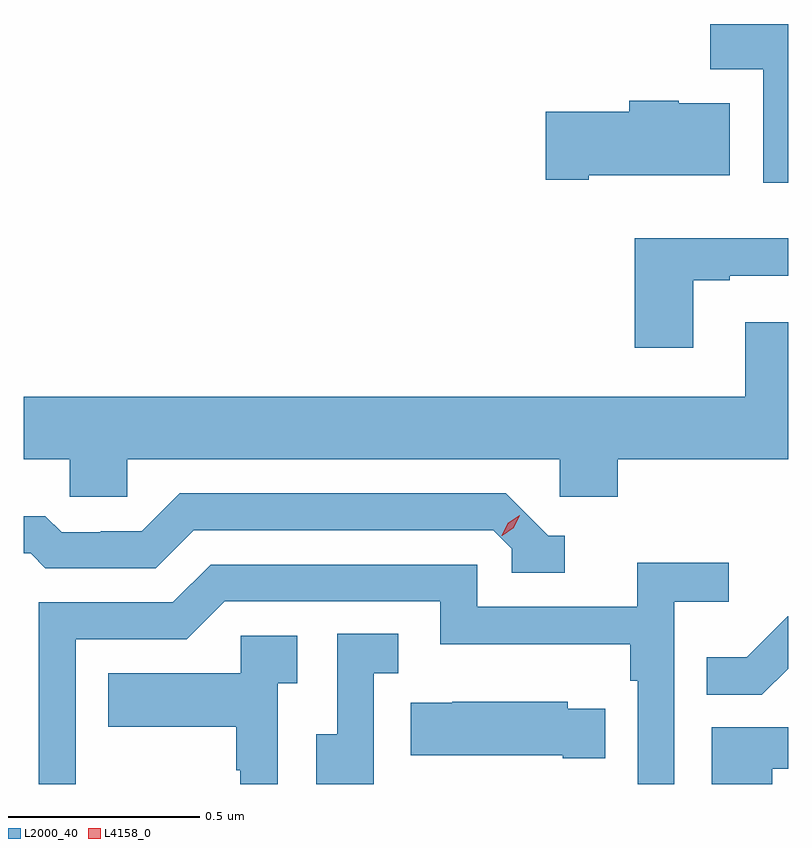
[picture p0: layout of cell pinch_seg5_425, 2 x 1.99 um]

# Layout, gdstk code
import gdstk
lib = gdstk.Library(unit=1e-6, precision=1e-09)
def P(c, l, *ps):  # polygons
    for p in ps: c.add(gdstk.Polygon(p, *l))
L2000_40 = (2000, 40)
L4158_0 = (4158, 0)

pinch_seg5_425 = lib.new_cell('pinch_seg5_425')
P(pinch_seg5_425, L2000_40, [(973.846,861.895),(973.642,861.895),(973.642,861.776),(973.781,861.776),(973.781,861.48),(973.846,861.48)],
  [(973.324,861.5),(973.693,861.5),(973.693,861.688),(973.56,861.688),(973.56,861.694),(973.43,861.694),(973.43,861.666),(973.212,861.666),(973.212,861.488),(973.324,861.488)],
  [(973.597,861.225),(973.693,861.225),(973.693,861.237),(973.846,861.237),(973.846,861.334),(973.445,861.334),(973.445,861.048),(973.597,861.048)],
  [(972.117,860.756),(973.248,860.756),(973.248,860.658),(973.4,860.658),(973.4,860.756),(973.846,860.756),(973.846,861.115),(973.733,861.115),(973.733,860.92),(971.846,860.92),(971.846,860.756),(971.967,860.756),(971.967,860.658),(972.117,860.658)],
  [(973.261,860.556),(973.218,860.556),(973.107,860.667),(972.254,860.667),(972.155,860.568),(972.048,860.568),(972.048,860.565),(971.945,860.565),(971.903,860.608),(971.846,860.608),(971.846,860.511),(971.864,860.511),(971.903,860.472),(972.192,860.472),(972.291,860.571),(973.074,860.571),(973.122,860.523),(973.122,860.46),(973.261,860.46)],
  [(971.982,860.286),(972.273,860.286),(972.372,860.385),(972.936,860.385),(972.936,860.273),(973.432,860.273),(973.432,860.177),(973.452,860.177),(973.452,859.907),(973.548,859.907),(973.548,860.384),(973.69,860.384),(973.69,860.486),(973.451,860.486),(973.451,860.37),(973.032,860.37),(973.032,860.481),(972.335,860.481),(972.236,860.382),(971.886,860.382),(971.886,859.907),(971.982,859.907)],
  [(973.846,860.209),(973.846,860.346),(973.844,860.346),(973.737,860.239),(973.633,860.239),(973.633,860.14),(973.777,860.14)],
  [(972.762,860.197),(972.826,860.197),(972.826,860.3),(972.666,860.3),(972.666,860.037),(972.611,860.037),(972.611,859.907),(972.762,859.907)],
  [(972.51,860.171),(972.562,860.171),(972.562,860.295),(972.414,860.295),(972.414,860.197),(972.067,860.197),(972.067,860.057),(972.402,860.057),(972.402,859.943),(972.412,859.943),(972.412,859.907),(972.51,859.907)],
  [(973.367,860.104),(973.269,860.104),(973.269,860.122),(972.967,860.122),(972.967,860.119),(972.859,860.119),(972.859,859.982),(973.256,859.982),(973.256,859.975),(973.367,859.975)],
  [(973.804,859.947),(973.846,859.947),(973.846,860.055),(973.646,860.055),(973.646,859.907),(973.804,859.907)])
P(pinch_seg5_425, L4158_0, [(973.097,860.557),(973.097,860.558),(973.113,860.59),(973.144,860.61),(973.144,860.61),(973.144,860.609),(973.128,860.577),(973.098,860.557)])

lib.write_gds('pinch_seg5_425.gds')
